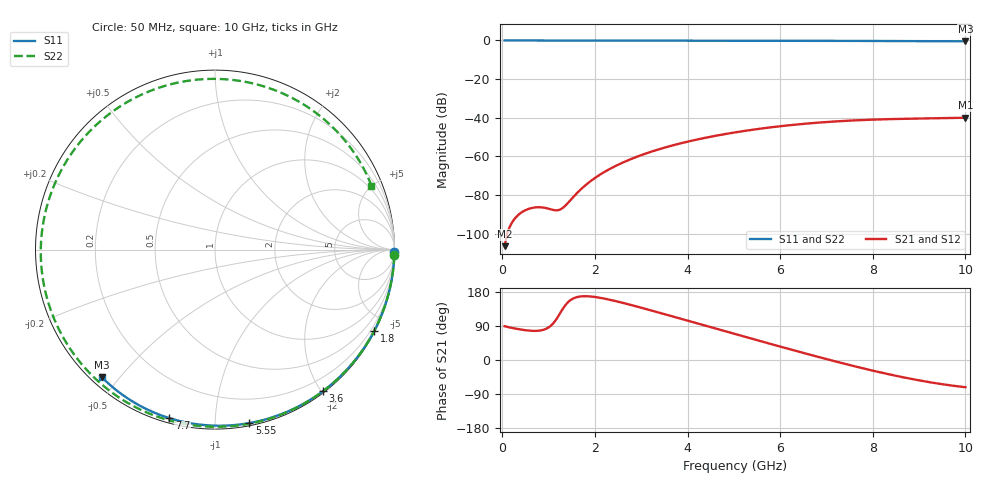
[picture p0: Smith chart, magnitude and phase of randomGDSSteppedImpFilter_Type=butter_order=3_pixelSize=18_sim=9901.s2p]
! freq	dB(S11)	phase(S11)	dB(S12)	phase(S12)
!  dB(S21)	phase(S21)	dB(S22)	phase(S22)
!S-par simulation data
#  GHz  S  DB  R 50
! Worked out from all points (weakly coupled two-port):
!   200 points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, 50 MHz to 10 GHz, reference 50 ohm
!   highest |S21| = -40.03 dB at 10 GHz (marker M1); lowest = -106.5 dB at 50 MHz (marker M2)
!   lowest |S11| = -0.4 dB at 10 GHz (marker M3), VSWR 39.04, Z = 1.54 - j22.4 ohm
!   |S11| at or under -10 dB: nowhere
!   |S22| runs from -0.5 to 0.0 dB; largest |S21 - S12| = 0
!   S11 on the Smith chart (normalised r, x): 50 MHz: open; 1.8 GHz: 0.04, -4.17; 3.6 GHz: 0.02, -2.02; 5.55 GHz: 0.02, -1.22; 7.7 GHz: 0.02, -0.76; 10 GHz: 0.03, -0.45
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0.05  -0.00 -0.8  -106.54 89.3  -106.54 89.3  -0.00 -1.9
0.75  -0.01 -11.3  -86.38 77.0  -86.38 77.0  -0.04 -27.6
1.55  -0.03 -23.3  -80.62 163.3  -80.62 163.3  -0.07 -56.1
1.75  -0.03 -26.2  -75.92 168.3  -75.92 168.3  -0.08 -63.1
1.8  -0.03 -27.0  -74.89 168.4  -74.89 168.4  -0.08 -64.8
2.1  -0.04 -31.4  -69.64 164.4  -69.64 164.4  -0.09 -75.0
2.45  -0.05 -36.4  -64.95 155.4  -64.95 155.4  -0.11 -86.6
2.9  -0.06 -42.9  -60.28 141.3  -60.28 141.3  -0.13 -101.1
3.4  -0.07 -50.0  -56.23 124.5  -56.23 124.5  -0.15 -116.9
3.6  -0.07 -52.7  -54.86 117.6  -54.86 117.6  -0.16 -123.1
4.35  -0.09 -63.0  -50.57 91.7  -50.57 91.7  -0.19 -145.9
5.05  -0.11 -72.3  -47.52 67.6  -47.52 67.6  -0.23 -167.1
5.55  -0.13 -78.8  -45.76 50.6  -45.76 50.6  -0.26 177.6
6.1  -0.15 -85.8  -44.16 32.0  -44.16 32.0  -0.30 160.4
6.7  -0.18 -93.2  -42.79 12.1  -42.79 12.1  -0.34 140.9
7.25  -0.21 -99.9  -41.85 -5.5  -41.85 -5.5  -0.38 122.4
7.7  -0.24 -105.2  -41.29 -19.3  -41.29 -19.3  -0.41 106.6
8.35  -0.29 -112.8  -40.75 -37.8  -40.75 -37.8  -0.44 83.1
8.7  -0.32 -116.9  -40.57 -46.7  -40.57 -46.7  -0.46 70.1
9.1  -0.35 -121.4  -40.40 -55.9  -40.40 -55.9  -0.47 55.2
9.55  -0.40 -126.6  -40.23 -64.8  -40.23 -64.8  -0.49 38.6
10  -0.45 -131.7  -40.03 -71.8  -40.03 -71.8  -0.52 22.3
